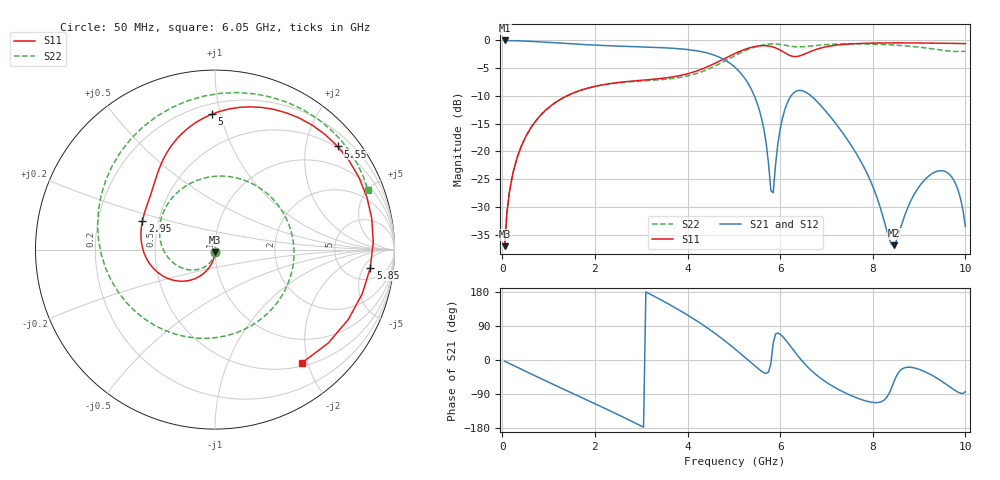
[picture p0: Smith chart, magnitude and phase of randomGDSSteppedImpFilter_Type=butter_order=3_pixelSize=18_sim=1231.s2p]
! freq	dB(S11)	phase(S11)	dB(S12)	phase(S12)
!  dB(S21)	phase(S21)	dB(S22)	phase(S22)
!S-par simulation data
#  GHz  S  DB  R 50
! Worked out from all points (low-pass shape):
!   200 points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, 50 MHz to 10 GHz, reference 50 ohm
!   highest |S21| = -0.01 dB at 50 MHz (marker M1); lowest = -37.0 dB at 8.45 GHz (marker M2)
!   |S21| within 3 dB of the highest: start of sweep to 4.682 GHz
!   lowest |S11| = -37.1 dB at 50 MHz (marker M3), VSWR 1.03, Z = 49.9 - j1.39 ohm
!   |S11| at or under -10 dB: start of sweep to 1.393 GHz
!   |S22| runs from -37.1 to -0.6 dB; largest |S21 - S12| = 0
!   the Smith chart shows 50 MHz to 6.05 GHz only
!   S11 on the Smith chart (normalised r, x): 50 MHz: 1.00, -0.03; 2.95 GHz: 0.41, +0.16; 5 GHz: 0.27, +0.94; 5.55 GHz: 0.47, +2.67; 5.85 GHz: 9, -7; 6.05 GHz: 0.55, -1.91
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0.05  -37.10 -92.0  -0.01 -3.0  -0.01 -3.0  -37.09 -93.3
0.2  -25.16 -99.1  -0.03 -11.9  -0.03 -11.9  -25.19 -104.8
0.5  -17.46 -113.2  -0.12 -29.6  -0.12 -29.6  -17.49 -127.0
1.75  -8.83 -164.2  -0.74 -101.2  -0.74 -101.2  -8.86 140.4
2.95  -7.23 158.2  -1.15 -171.1  -1.15 -171.1  -7.35 38.8
3.4  -6.89 146.8  -1.29 160.4  -1.29 160.4  -7.09 -6.5
4.25  -5.36 125.8  -1.95 99.3  -1.95 99.3  -5.82 -108.4
4.7  -3.69 108.9  -3.07 60.6  -3.07 60.6  -4.18 -170.5
5  -2.45 91.5  -4.67 31.6  -4.67 31.6  -2.84 147.6
5.05  -2.26 87.9  -5.04 26.6  -5.04 26.6  -2.63 140.7
5.55  -0.98 40.0  -12.53 -25.2  -12.53 -25.2  -0.96 75.6
5.85  -1.20 -6.6  -27.46 44.7  -27.46 44.7  -0.63 41.3
6.05  -1.99 -52.4  -14.02 62.5  -14.02 62.5  -0.78 21.4
6.2  -2.68 -95.9  -10.47 40.2  -10.47 40.2  -1.01 8.9
6.4  -2.84 -156.6  -9.01 8.3  -9.01 8.3  -1.16 -4.7
6.7  -1.85 137.0  -10.25 -30.8  -10.25 -30.8  -0.96 -23.6
7.25  -0.82 74.2  -15.54 -77.2  -15.54 -77.2  -0.64 -57.6
8.35  -0.44 9.9  -35.68 -89.0  -35.68 -89.0  -0.78 -122.8
8.45  -0.44 5.4  -36.96 -59.6  -36.96 -59.6  -0.83 -129.4
9.25  -0.48 -26.9  -24.18 -38.4  -24.18 -38.4  -1.47 158.9
9.65  -0.53 -41.5  -24.11 -69.6  -24.11 -69.6  -1.93 96.9
10  -0.58 -53.9  -33.57 -83.9  -33.57 -83.9  -1.95 28.6
